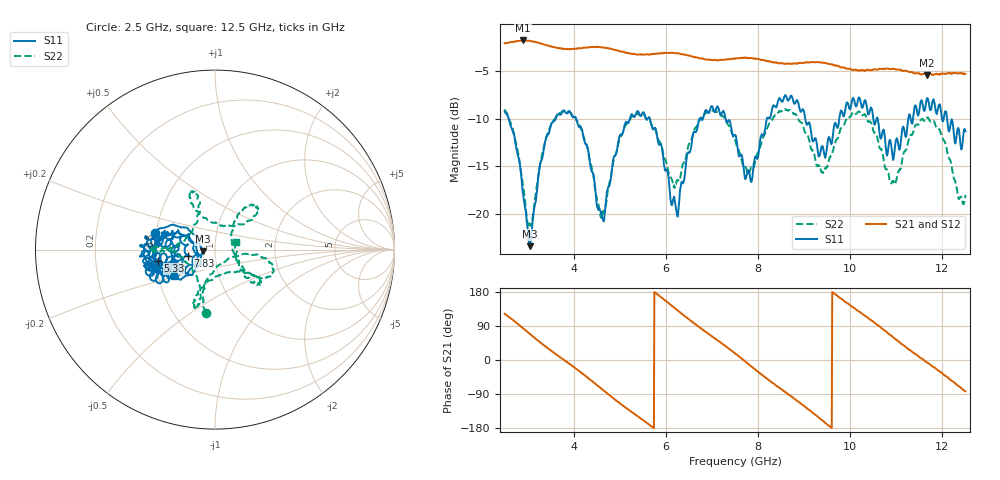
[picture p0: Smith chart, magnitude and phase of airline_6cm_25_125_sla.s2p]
!Keysight Technologies N9950B: A.12.38
!Date: Friday, 14 April 2023 14:12:52
!Timezone: (UTC-06:00) Central Time (US & Canada)
!Model: N9950B
!Serial: MY61131330
!GPS Latitude:
!GPS Longitude:
!GPS TimeStamp: 0001-01-01 00:00:00Z
!GPS Seconds Since Last Read: 0
!CHECKSUM:1446307254
!Correction: S11(ON U)S21(ON U)S12(ON U)S22(ON U)
!S2P File: Measurements:S11,S21,S12,S22:
# Hz S DB R 50
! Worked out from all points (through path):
!   1001 points, 2.5 GHz to 12.5 GHz, reference 50 ohm
!   highest |S21| = -1.77 dB at 2.9 GHz (marker M1); lowest = -5.4 dB at 11.67 GHz (marker M2)
!   group delay of S21, straight-line fit = 256 ps
!   lowest |S11| = -23.4 dB at 3.05 GHz (marker M3), VSWR 1.14, Z = 43.7 - j0.771 ohm
!   |S11| at or under -10 dB: 2.586 GHz to 3.607 GHz (1.021 GHz wide, 33 % of centre); 4.05 GHz to 5.219 GHz (1.169 GHz wide, 25.2 % of centre); 5.653 GHz to 6.729 GHz (1.076 GHz wide, 17.4 % of centre)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
!   |S22| runs from -21.3 to -9.0 dB; largest |S21 - S12| = 0.0053
!   S11 on the Smith chart (normalised r, x): 2.5 GHz: 0.49, +0.11; 5.33 GHz: 0.51, -0.07; 7.83 GHz: 0.74, -0.05; 12.5 GHz: 0.60, -0.19
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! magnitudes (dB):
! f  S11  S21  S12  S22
! 2.5 GHz  -9.2  -2.1  -2.0  -9.0
! 2.9 GHz  -17.9  -1.8  -1.8  -17.1
! 3.05 GHz  -23.4  -1.8  -1.8  -21.3
! 3.28 GHz  -14.7  -2.1  -2.1  -14.5
! 3.53 GHz  -10.4  -2.4  -2.4  -10.4
! 4.17 GHz  -11.1  -2.6  -2.6  -11.2
! 4.63 GHz  -20.6  -2.5  -2.5  -19.7
! 4.99 GHz  -11.9  -2.9  -2.9  -12.1
! 5.33 GHz  -9.8  -3.2  -3.2  -9.7
! 5.84 GHz  -12.6  -3.2  -3.1  -12.2
! 6.24 GHz  -20.0  -3.1  -3.1  -16.5
! 6.59 GHz  -11.6  -3.5  -3.5  -11.6
! 6.86 GHz  -9.1  -3.8  -3.8  -9.4
! 7.5 GHz  -11.7  -3.7  -3.7  -12.2
! 7.83 GHz  -16.2  -3.6  -3.6  -15.4
! 8.47 GHz  -7.9  -4.2  -4.2  -9.3
! 9.17 GHz  -12.1  -4.0  -4.0  -13.2
! 9.43 GHz  -13.6  -4.1  -4.1  -15.5
! 10.2 GHz  -7.8  -5.0  -4.9  -9.3
! 10.84 GHz  -12.6  -4.8  -4.8  -16.0
! 11.67 GHz  -7.8  -5.4  -5.4  -9.9
! 12.5 GHz  -11.3  -5.3  -5.3  -18.0
